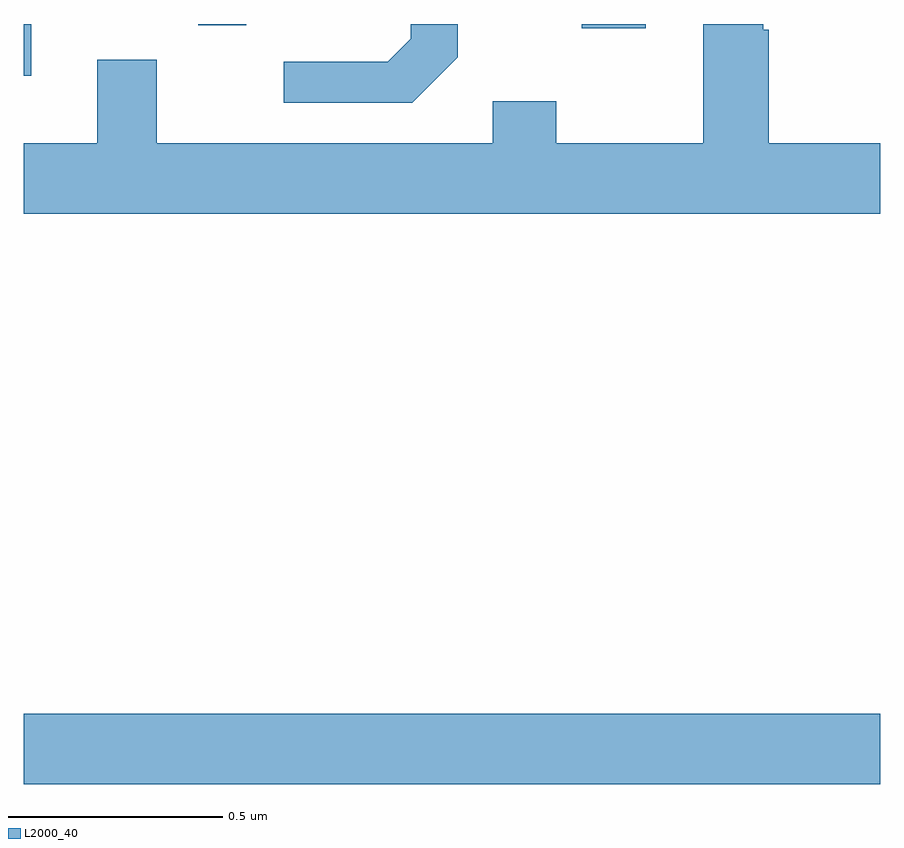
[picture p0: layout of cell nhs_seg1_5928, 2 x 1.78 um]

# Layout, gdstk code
import gdstk
lib = gdstk.Library(unit=1e-6, precision=1e-09)
def R(c, l, rs):  # rectangles x0, y0, x1, y1
    for r in rs: c.add(gdstk.rectangle(r[:2], r[2:], *l))
def P(c, l, *ps):  # polygons
    for p in ps: c.add(gdstk.Polygon(p, *l))
L2000_40 = (2000, 40)

nhs_seg1_5928 = lib.new_cell('nhs_seg1_5928')
R(nhs_seg1_5928, L2000_40, [(185,526.424,187,526.588), (185,528.078,185.017,528.199), (186.303,528.189,186.452,528.199), (185.407,528.196,185.519,528.199)])
P(nhs_seg1_5928, L2000_40, [(187,527.92),(186.74,527.92),(186.74,528.185),(186.727,528.185),(186.727,528.199),(186.587,528.199),(186.587,527.92),(186.243,527.92),(186.243,528.019),(186.095,528.019),(186.095,527.92),(185.311,527.92),(185.311,528.115),(185.171,528.115),(185.171,527.92),(185,527.92),(185,527.756),(187,527.756)],
  [(186.013,528.121),(186.013,528.199),(185.904,528.199),(185.904,528.165),(185.85,528.111),(185.607,528.111),(185.607,528.015),(185.907,528.015)])

lib.write_gds('nhs_seg1_5928.gds')
